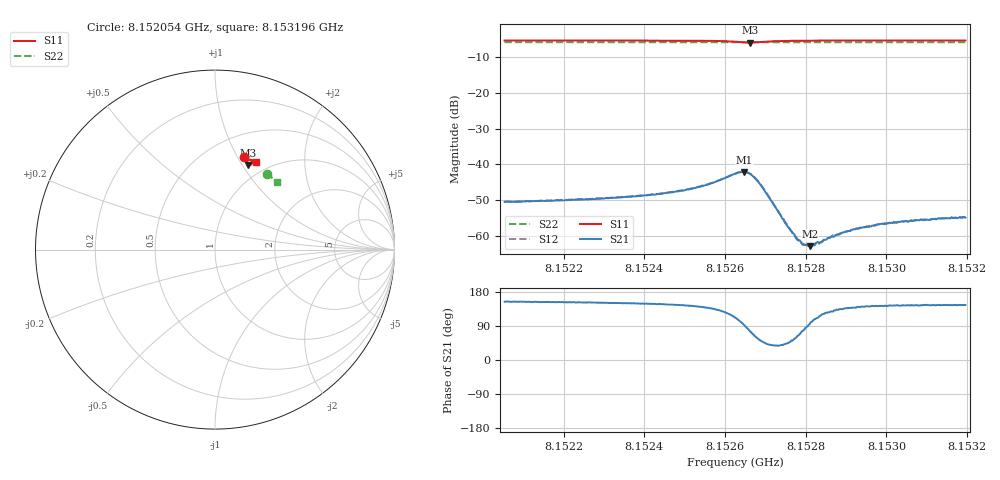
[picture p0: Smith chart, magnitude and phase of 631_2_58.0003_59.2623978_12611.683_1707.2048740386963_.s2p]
#  HZ  S  RI  R  50.00
! Rohde & Schwarz Vector Network Analyzer
! Rohde-Schwarz,ZNB20-2Port,1311601062101988,3.16
! Created: UTC 3/21/2024, 1:18:38 AM
! freq[Hz]  re:S11  im:S11  re:S21  im:S21  re:S12  im:S12  re:S22  im:S22
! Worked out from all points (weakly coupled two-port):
!   401 points, 8.152054 GHz to 8.153196 GHz, reference 50 ohm
!   highest |S21| = -42.16 dB at 8.152648 GHz (marker M1); lowest = -63.0 dB at 8.15281 GHz (marker M2)
!   lowest |S11| = -5.9 dB at 8.152662 GHz (marker M3), VSWR 3.05, Z = 42 + j53.2 ohm
!   |S11| at or under -10 dB: nowhere
!   |S22| runs from -5.9 to -5.8 dB; largest |S21 - S12| = 0.00014
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8.152054e9  0.161 0.5159  -0.00266 0.00131  -0.0027 0.00134  0.289 0.4224
8.1522452e9  0.1749 0.5114  -0.00283 0.00151  -0.00283 0.00156  0.2991 0.4153
8.1524365e9  0.19 0.5055  -0.00325 0.00203  -0.00324 0.00209  0.3088 0.4075
8.1524964e9  0.1956 0.5023  -0.00349 0.00248  -0.00348 0.00257  0.3119 0.4051
8.1525421e9  0.2006 0.4984  -0.00376 0.00318  -0.00376 0.00323  0.3142 0.4032
8.1525734e9  0.2042 0.4938  -0.0039 0.00398  -0.0039 0.0041  0.3157 0.4018
8.1526248e9  0.2051 0.4782  -0.0028 0.00677  -0.00276 0.00686  0.3179 0.3995
8.1526477e9  0.1951 0.4702  -0.000249 0.0078  -0.000197 0.00786  0.3185 0.3981
8.1526619e9  0.1855 0.4712  0.00178 0.0071  0.00181 0.00716  0.3189 0.398
8.1526762e9  0.1789 0.4778  0.00302 0.00543  0.00311 0.0055  0.3193 0.3977
8.1526962e9  0.1776 0.4882  0.00308 0.00322  0.00313 0.0032  0.3204 0.3972
8.1527533e9  0.1891 0.4998  0.00101 0.000972  0.00104 0.001  0.3236 0.3952
8.1527761e9  0.1929 0.5004  0.000474 0.000782  0.000518 0.000809  0.3249 0.3943
8.1527932e9  0.1956 0.5007  0.000165 0.000724  0.000201 0.000745  0.3258 0.3935
8.1528103e9  0.1978 0.5005  -7.18e-05 0.000708  -7.4e-05 0.000741  0.3266 0.3928
8.152816e9  0.1984 0.5005  -0.000142 0.000712  -0.000106 0.00074  0.3271 0.3927
8.152836e9  0.2009 0.5002  -0.000361 0.000723  -0.000344 0.000725  0.3278 0.3917
8.1528617e9  0.2036 0.4999  -0.00059 0.000748  -0.00058 0.000757  0.3292 0.3908
8.1529188e9  0.2089 0.4985  -0.000921 0.000818  -0.000899 0.00084  0.332 0.3883
8.1530073e9  0.2162 0.496  -0.00122 0.000897  -0.0012 0.000891  0.3364 0.3845
8.1530729e9  0.2209 0.4943  -0.00133 0.000946  -0.00134 0.000984  0.3394 0.3816
8.1531956e9  0.2297 0.4908  -0.00147 0.00102  -0.00145 0.00106  0.3451 0.3762
